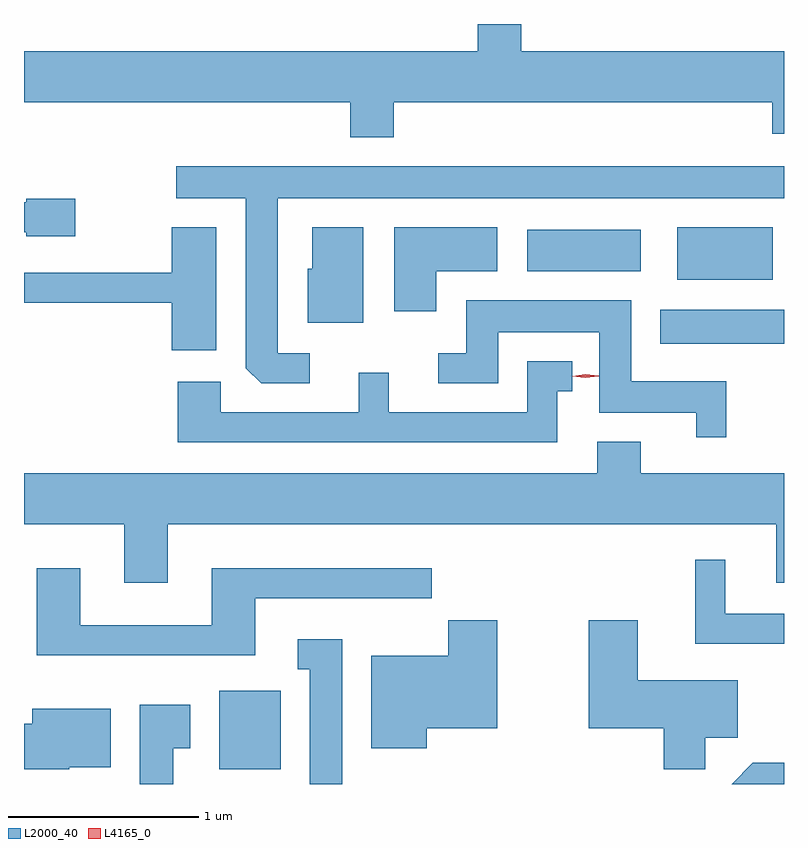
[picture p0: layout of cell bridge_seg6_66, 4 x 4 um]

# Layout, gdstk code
import gdstk
lib = gdstk.Library(unit=1e-6, precision=1e-09)
def R(c, l, rs):  # rectangles x0, y0, x1, y1
    for r in rs: c.add(gdstk.rectangle(r[:2], r[2:], *l))
def P(c, l, *ps):  # polygons
    for p in ps: c.add(gdstk.Polygon(p, *l))
L2000_40 = (2000, 40)
L4165_0 = (4165, 0)

bridge_seg6_66 = lib.new_cell('bridge_seg6_66')
R(bridge_seg6_66, L2000_40, [(1260.051,1641.986,1260.374,1642.399), (1262.371,1644.226,1263.023,1644.404), (1262.461,1644.561,1262.964,1644.839), (1261.671,1644.606,1262.269,1644.824)])
P(bridge_seg6_66, L2000_40, [(1260.969,1645.496),(1262.961,1645.496),(1262.961,1645.331),(1263.023,1645.331),(1263.023,1645.764),(1261.639,1645.764),(1261.639,1645.908),(1261.411,1645.908),(1261.411,1645.764),(1259.023,1645.764),(1259.023,1645.496),(1260.741,1645.496),(1260.741,1645.311),(1260.969,1645.311)],
  [(1260.528,1644.174),(1260.359,1644.174),(1260.359,1644.991),(1263.023,1644.991),(1263.023,1645.159),(1259.823,1645.159),(1259.823,1644.991),(1260.191,1644.991),(1260.191,1644.097),(1260.272,1644.016),(1260.528,1644.016)],
  [(1259.294,1644.989),(1259.036,1644.989),(1259.036,1644.969),(1259.023,1644.969),(1259.023,1644.811),(1259.036,1644.811),(1259.036,1644.791),(1259.294,1644.791)],
  [(1260.809,1644.839),(1260.541,1644.839),(1260.541,1644.619),(1260.516,1644.619),(1260.516,1644.336),(1260.809,1644.336)],
  [(1260.034,1644.839),(1259.801,1644.839),(1259.801,1644.599),(1259.023,1644.599),(1259.023,1644.441),(1259.801,1644.441),(1259.801,1644.191),(1260.034,1644.191)],
  [(1261.194,1644.606),(1261.514,1644.606),(1261.514,1644.839),(1260.971,1644.839),(1260.971,1644.396),(1261.194,1644.396)],
  [(1262.719,1644.029),(1262.219,1644.029),(1262.219,1644.454),(1261.351,1644.454),(1261.351,1644.174),(1261.203,1644.174),(1261.203,1644.016),(1261.519,1644.016),(1261.519,1644.286),(1262.051,1644.286),(1262.051,1643.861),(1262.561,1643.861),(1262.561,1643.733),(1262.719,1643.733)],
  [(1261.829,1643.976),(1261.908,1643.976),(1261.908,1644.134),(1261.671,1644.134),(1261.671,1643.864),(1260.944,1643.864),(1260.944,1644.073),(1260.786,1644.073),(1260.786,1643.864),(1260.059,1643.864),(1260.059,1644.024),(1259.831,1644.024),(1259.831,1643.706),(1261.829,1643.706)],
  [(1259.779,1643.276),(1262.981,1643.276),(1262.981,1642.966),(1263.023,1642.966),(1263.023,1643.544),(1262.269,1643.544),(1262.269,1643.709),(1262.041,1643.709),(1262.041,1643.544),(1259.023,1643.544),(1259.023,1643.276),(1259.551,1643.276),(1259.551,1642.966),(1259.779,1642.966)],
  [(1263.023,1642.804),(1262.714,1642.804),(1262.714,1643.088),(1262.556,1643.088),(1262.556,1642.646),(1263.023,1642.646)],
  [(1260.239,1642.886),(1261.168,1642.886),(1261.168,1643.044),(1260.011,1643.044),(1260.011,1642.744),(1259.319,1642.744),(1259.319,1643.044),(1259.091,1643.044),(1259.091,1642.586),(1260.239,1642.586)],
  [(1261.144,1642.201),(1261.514,1642.201),(1261.514,1642.769),(1261.256,1642.769),(1261.256,1642.584),(1260.851,1642.584),(1260.851,1642.096),(1261.144,1642.096)],
  [(1262.609,1642.151),(1262.779,1642.151),(1262.779,1642.454),(1262.254,1642.454),(1262.254,1642.769),(1261.996,1642.769),(1261.996,1642.201),(1262.391,1642.201),(1262.391,1641.986),(1262.609,1641.986)],
  [(1260.699,1642.669),(1260.463,1642.669),(1260.463,1642.511),(1260.526,1642.511),(1260.526,1641.908),(1260.699,1641.908)],
  [(1259.809,1642.096),(1259.899,1642.096),(1259.899,1642.324),(1259.631,1642.324),(1259.631,1641.908),(1259.809,1641.908)],
  [(1259.26,1641.996),(1259.479,1641.996),(1259.479,1642.304),(1259.066,1642.304),(1259.066,1642.224),(1259.023,1642.224),(1259.023,1641.986),(1259.26,1641.986)],
  [(1263.023,1642.019),(1262.859,1642.019),(1262.748,1641.908),(1263.023,1641.908)])
P(bridge_seg6_66, L4165_0, [(1261.978,1644.045),(1261.909,1644.054),(1261.909,1644.055),(1261.909,1644.055),(1261.978,1644.065),(1262.048,1644.056),(1262.048,1644.056),(1262.048,1644.055)])

lib.write_gds('bridge_seg6_66.gds')
